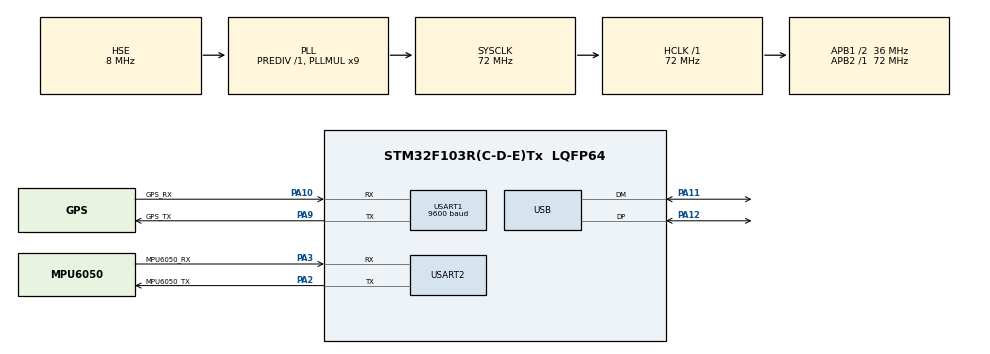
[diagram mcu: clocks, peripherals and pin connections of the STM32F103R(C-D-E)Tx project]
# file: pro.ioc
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Mcu.Family=STM32F1
Mcu.Name=STM32F103R(C-D-E)Tx
Mcu.Package=LQFP64
NVIC.PriorityGroup=NVIC_PRIORITYGROUP_4
NVIC.TIM3_IRQn=true\:0\:0\:false\:false\:true\:true
NVIC.TIM5_IRQn=true\:0\:0\:false\:true\:true\:4\:true
NVIC.USART1_IRQn=true\:0\:0\:false\:true\:true\:2\:true
NVIC.USART2_IRQn=true\:0\:0\:false\:true\:true\:3\:true
NVIC.USB_HP_CAN1_TX_IRQn=true\:0\:0\:false\:false\:true\:true
NVIC.USB_LP_CAN1_RX0_IRQn=true\:0\:0\:false\:true\:true\:1\:false
PA10.GPIO_Label=GPS_RX
PA10.Mode=Asynchronous
PA10.Signal=USART1_RX
PA11.Mode=Device
PA11.Signal=USB_DM
PA12.Mode=Device
PA12.Signal=USB_DP
PA13.Mode=Serial_Wire
PA13.Signal=SYS_JTMS-SWDIO
PA14.Mode=Serial_Wire
PA14.Signal=SYS_JTCK-SWCLK
PA2.GPIO_Label=MPU6050_TX
PA2.Mode=Asynchronous
PA2.Signal=USART2_TX
PA3.GPIO_Label=MPU6050_RX
PA3.Mode=Asynchronous
PA3.Signal=USART2_RX
PA9.GPIO_Label=GPS_TX
PA9.Mode=Asynchronous
PA9.Signal=USART1_TX
PD0-OSC_IN.Mode=HSE-External-Oscillator
PD0-OSC_IN.Signal=RCC_OSC_IN
PD1-OSC_OUT.Mode=HSE-External-Oscillator
PD1-OSC_OUT.Signal=RCC_OSC_OUT
ProjectManager.HeapSize=0x200
ProjectManager.StackSize=0x400
ProjectManager.TargetToolchain=MDK-ARM V5
RCC.AHBFreq_Value=72000000
RCC.APB1CLKDivider=RCC_HCLK_DIV2
RCC.APB1Freq_Value=36000000
RCC.APB1TimFreq_Value=72000000
RCC.APB2Freq_Value=72000000
RCC.APB2TimFreq_Value=72000000
RCC.HCLKFreq_Value=72000000
RCC.PLLMUL=RCC_PLL_MUL9
RCC.SYSCLKFreq_VALUE=72000000
RCC.SYSCLKSource=RCC_SYSCLKSOURCE_PLLCLK
RCC.USBFreq_Value=48000000
RCC.USBPrescaler=RCC_USBCLKSOURCE_PLL_DIV1_5
TIM3.Period=1000-1
TIM3.Prescaler=7200-1
TIM5.Period=3-1
TIM5.Prescaler=24-1
USART1.BaudRate=9600
USART1.VirtualMode=VM_ASYNC
USART2.VirtualMode=VM_ASYNC
USB_DEVICE.CLASS_NAME_FS=CDC
USB_DEVICE.VirtualMode=Cdc
USB_DEVICE.VirtualModeFS=Cdc_FS
VP_TIM3_VS_ClockSourceINT.Mode=Internal
VP_TIM5_VS_ClockSourceINT.Mode=Internal
VP_USB_DEVICE_VS_USB_DEVICE_CDC_FS.Mode=CDC_FS
board=pro

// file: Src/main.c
/**
  ******************************************************************************
  * @file           : main.c
  * @brief          : Main program body
  ******************************************************************************
  * This notice applies to any and all portions of this file
  * that are not between comment pairs USER CODE BEGIN and
  * USER CODE END. Other portions of this file, whether
  * inserted by the user or by software development tools
  * are owned by their respective copyright owners.
  *
  * Copyright (c) 2018 STMicroelectronics International N.V.
  * All rights reserved.
  *
  * Redistribution and use in source and binary forms, with or without
  * modification, are permitted, provided that the following conditions are met:
  *
  * 1. Redistribution of source code must retain the above copyright notice,
  *    this list of conditions and the following disclaimer.
  * 2. Redistributions in binary form must reproduce the above copyright notice,
  *    this list of conditions and the following disclaimer in the documentation
  *    and/or other materials provided with the distribution.
  * 3. Neither the name of STMicroelectronics nor the names of other
  *    contributors to this software may be used to endorse or promote products
  *    derived from this software without specific written permission.
  * 4. This software, including modifications and/or derivative works of this
  *    software, must execute solely and exclusively on microcontroller or
  *    microprocessor devices manufactured by or for STMicroelectronics.
  * 5. Redistribution and use of this software other than as permitted under
  *    this license is void and will automatically terminate your rights under
  *    this license.
  *
  * THIS SOFTWARE IS PROVIDED BY STMICROELECTRONICS AND CONTRIBUTORS "AS IS"
  * AND ANY EXPRESS, IMPLIED OR STATUTORY WARRANTIES, INCLUDING, BUT NOT
  * LIMITED TO, THE IMPLIED WARRANTIES OF MERCHANTABILITY, FITNESS FOR A
  * PARTICULAR PURPOSE AND NON-INFRINGEMENT OF THIRD PARTY INTELLECTUAL PROPERTY
  * RIGHTS ARE DISCLAIMED TO THE FULLEST EXTENT PERMITTED BY LAW. IN NO EVENT
  * SHALL STMICROELECTRONICS OR CONTRIBUTORS BE LIABLE FOR ANY DIRECT, INDIRECT,
  * INCIDENTAL, SPECIAL, EXEMPLARY, OR CONSEQUENTIAL DAMAGES (INCLUDING, BUT NOT
  * LIMITED TO, PROCUREMENT OF SUBSTITUTE GOODS OR SERVICES; LOSS OF USE, DATA,
  * OR PROFITS; OR BUSINESS INTERRUPTION) HOWEVER CAUSED AND ON ANY THEORY OF
  * LIABILITY, WHETHER IN CONTRACT, STRICT LIABILITY, OR TORT (INCLUDING
  * NEGLIGENCE OR OTHERWISE) ARISING IN ANY WAY OUT OF THE USE OF THIS SOFTWARE,
  * EVEN IF ADVISED OF THE POSSIBILITY OF SUCH DAMAGE.
  *
  ******************************************************************************
  */
#include "main.h"
#include "stm32f1xx_hal.h"
#include "tim.h"
#include "usart.h"
#include "usb_device.h"
#include "gpio.h"

/* USER CODE BEGIN Includes */
#include "ubloxgps.h"
#include "lcd.h"
#include "mpu6050.h"
//#include "delay.h"
/* USER CODE END Includes */

/* USER CODE BEGIN PV */
/* Private variables ---------------------------------------------------------*/
uint8_t UTC[20];
uint8_t LatLongInfo[30];
uint8_t PositingInfo[30];
uint8_t GroundSpeedInfo[30];
uint8_t GroundCourseinfo[30];

uint16_t TimCnt;
uint16_t TimCntFlag;

/* USER CODE END PV */

void SystemClock_Config(void);
static void MX_NVIC_Init(void);

/* USER CODE BEGIN PFP */
/* Private function prototypes -----------------------------------------------*/

/* USER CODE END PFP */

int main(void)
{

  /* MCU Configuration----------------------------------------------------------*/

  /* Reset of all peripherals, Initializes the Flash interface and the Systick. */
  HAL_Init();

  /* Configure the system clock */
  SystemClock_Config();

  /* Initialize all configured peripherals */
  MX_GPIO_Init();
  MX_USART1_UART_Init();
  MX_USART2_UART_Init();
  MX_TIM5_Init();
  MX_USB_DEVICE_Init();
  MX_TIM3_Init();

  /* Initialize interrupts */
  MX_NVIC_Init();
  /* USER CODE BEGIN 2 */
  //MPU6050_Init();
  GPS_Init();
  LCD_Init();
  LED_Init();
  POINT_COLOR=RED;
  LCD_Clear(BLUE);
  LCD_Display_Dir(1);
  HAL_TIM_Base_Start_IT(&htim3);
  __HAL_UART_ENABLE_IT(&huart1,UART_IT_RXNE);
  __HAL_UART_ENABLE_IT(&huart2,UART_IT_RXNE);
  /* USER CODE END 2 */

  /* Infinite loop */
  while (1)
  {

  /* USER CODE BEGIN 3 */
    GPS_parseGpsBuffer();
	GPS_printGpsBuffer();
//  LCD_ShowString(30,70,300,16,16,(uint8_t*)navigationBuffer);
//  LCD_ShowString(30,90,300,16,16,(uint8_t*)"GPS Satellites in View:");
//  LCD_ShowString(30,110,300,16,16,(uint8_t*)"GPS");
//  LCD_ShowString(30,130,300,12,12,(uint8_t*)"2017/6/2");

//  LED0=!LED0;
//  HAL_Delay(1000);

	if(TimCntFlag)
	{
		//printf("*********************\r\n");
		POINT_COLOR=RED;
		LCD_Display_Dir(1);
		LCD_ShowString(5,5,240,12,12,(uint8_t*)UTC);//显示UTC时间信息
		LCD_ShowString(40,40,200,24,24,(uint8_t*)"Navigation System");
		LCD_ShowString(30,90,300,16,16,PositingInfo);
		LCD_ShowString(30,110,300,16,16,LatLongInfo);
		LCD_ShowString(30,130,300,16,16,GroundSpeedInfo);

		TimCntFlag = 0;
		LED0=!LED0;
	}

  }
  /* USER CODE END 3 */

}

void SystemClock_Config(void)
{

  RCC_OscInitTypeDef RCC_OscInitStruct;
  RCC_ClkInitTypeDef RCC_ClkInitStruct;
  RCC_PeriphCLKInitTypeDef PeriphClkInit;

    /**Initializes the CPU, AHB and APB busses clocks
    */
  RCC_OscInitStruct.OscillatorType = RCC_OSCILLATORTYPE_HSE;
  RCC_OscInitStruct.HSEState = RCC_HSE_ON;
  RCC_OscInitStruct.HSEPredivValue = RCC_HSE_PREDIV_DIV1;
  RCC_OscInitStruct.HSIState = RCC_HSI_ON;
  RCC_OscInitStruct.PLL.PLLState = RCC_PLL_ON;
  RCC_OscInitStruct.PLL.PLLSource = RCC_PLLSOURCE_HSE;
  RCC_OscInitStruct.PLL.PLLMUL = RCC_PLL_MUL9;
  if (HAL_RCC_OscConfig(&RCC_OscInitStruct) != HAL_OK)
  {
    _Error_Handler(__FILE__, __LINE__);
  }

    /**Initializes the CPU, AHB and APB busses clocks
    */
  RCC_ClkInitStruct.ClockType = RCC_CLOCKTYPE_HCLK|RCC_CLOCKTYPE_SYSCLK
                              |RCC_CLOCKTYPE_PCLK1|RCC_CLOCKTYPE_PCLK2;
  RCC_ClkInitStruct.SYSCLKSource = RCC_SYSCLKSOURCE_PLLCLK;
  RCC_ClkInitStruct.AHBCLKDivider = RCC_SYSCLK_DIV1;
  RCC_ClkInitStruct.APB1CLKDivider = RCC_HCLK_DIV2;
  RCC_ClkInitStruct.APB2CLKDivider = RCC_HCLK_DIV1;

  if (HAL_RCC_ClockConfig(&RCC_ClkInitStruct, FLASH_LATENCY_2) != HAL_OK)
  {
    _Error_Handler(__FILE__, __LINE__);
  }

  PeriphClkInit.PeriphClockSelection = RCC_PERIPHCLK_USB;
  PeriphClkInit.UsbClockSelection = RCC_USBCLKSOURCE_PLL_DIV1_5;
  if (HAL_RCCEx_PeriphCLKConfig(&PeriphClkInit) != HAL_OK)
  {
    _Error_Handler(__FILE__, __LINE__);
  }

    /**Configure the Systick interrupt time
    */
  HAL_SYSTICK_Config(HAL_RCC_GetHCLKFreq()/1000);

    /**Configure the Systick
    */
  HAL_SYSTICK_CLKSourceConfig(SYSTICK_CLKSOURCE_HCLK);

  /* SysTick_IRQn interrupt configuration */
  HAL_NVIC_SetPriority(SysTick_IRQn, 0, 0);
}

/**
  * @brief NVIC Configuration.
  * @retval None
  */
static void MX_NVIC_Init(void)
{
  /* USB_LP_CAN1_RX0_IRQn interrupt configuration */
  HAL_NVIC_SetPriority(USB_LP_CAN1_RX0_IRQn, 0, 0);
  HAL_NVIC_EnableIRQ(USB_LP_CAN1_RX0_IRQn);
  /* USART1_IRQn interrupt configuration */
  HAL_NVIC_SetPriority(USART1_IRQn, 0, 0);
  HAL_NVIC_EnableIRQ(USART1_IRQn);
  /* USART2_IRQn interrupt configuration */
  HAL_NVIC_SetPriority(USART2_IRQn, 0, 0);
  HAL_NVIC_EnableIRQ(USART2_IRQn);
  /* TIM5_IRQn interrupt configuration */
  HAL_NVIC_SetPriority(TIM5_IRQn, 0, 0);
  HAL_NVIC_EnableIRQ(TIM5_IRQn);
}

/* USER CODE BEGIN 4 */
/**
  * @brief  Period elapsed callback in non blocking mode
  * @param  htim : TIM handle
  * @retval None
  */
void HAL_TIM_PeriodElapsedCallback(TIM_HandleTypeDef *htim)
{
  /* Prevent unused argument(s) compilation warning */
  UNUSED(htim);
  /* NOTE : This function Should not be modified, when the callback is needed,
            the __HAL_TIM_PeriodElapsedCallback could be implemented in the user file
   */
	if(htim->Instance == htim5.Instance)
	{
		timeCnt++;
	}

	if(htim->Instance == htim3.Instance)
	{
		TimCnt++;
		if(TimCnt > 10)
		{
			TimCntFlag = 1;
			TimCnt = 0;
		}
	}

}
/* USER CODE END 4 */

void _Error_Handler(char *file, int line)
{
  while(1)
  {
  }
}

/************************ (C) COPYRIGHT STMicroelectronics *****END OF FILE****/
